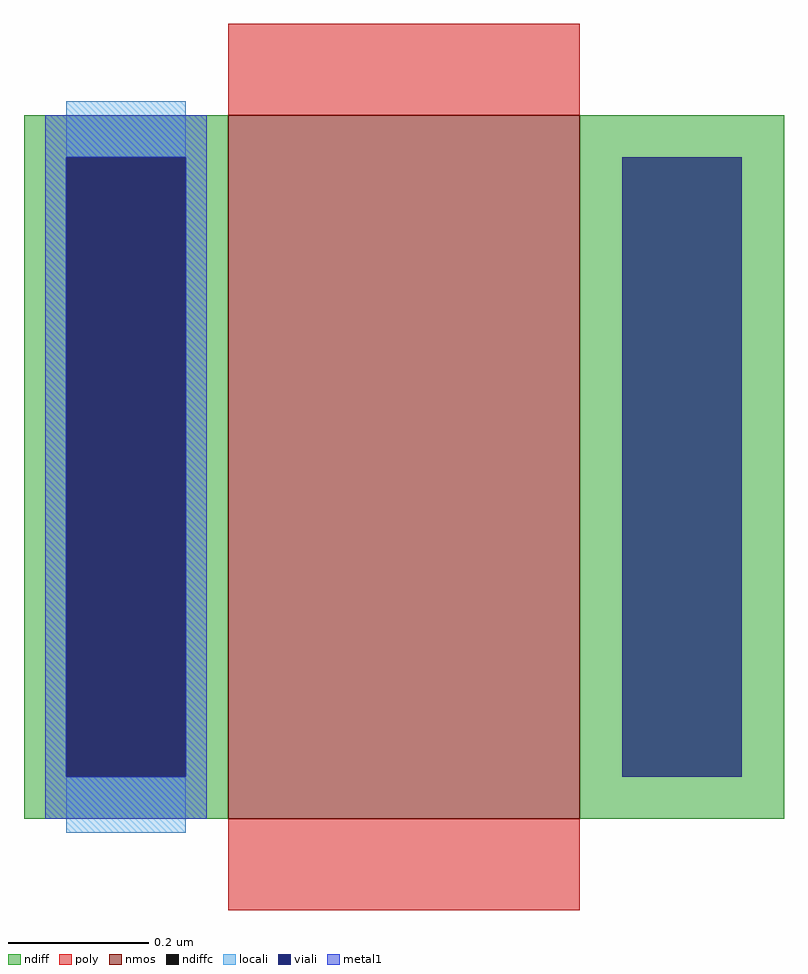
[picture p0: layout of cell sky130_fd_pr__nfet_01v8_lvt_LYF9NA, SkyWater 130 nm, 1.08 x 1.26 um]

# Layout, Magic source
magic
tech sky130A
<< nmos >>
rect -25 -50 25 50
<< ndiff >>
rect -54 44 -25 50
rect -54 -44 -48 44
rect -31 -44 -25 44
rect -54 -50 -25 -44
rect 25 -50 54 50
<< ndiffc >>
rect -48 -44 -31 44
<< poly >>
rect -25 50 25 63
rect -25 -63 25 -50
<< locali >>
rect -48 44 -31 52
rect -48 -52 -31 -44
<< viali >>
rect -48 -44 -31 44
rect 31 -44 48 44
<< metal1 >>
rect -51 44 -28 50
rect -51 -44 -48 44
rect -31 -44 -28 44
rect -51 -50 -28 -44
<< properties >>
string gencell sky130_fd_pr__nfet_01v8_lvt
string library sky130
string parameters w 1 l 0.5 m 1 nf 1 diffcov 100 polycov 100 guard 0 glc 0 grc 0 gtc 0 gbc 0 tbcov 100 rlcov 100 topc 0 botc 0 poverlap 0 doverlap 0 lmin 0.15 wmin 0.42 compatible {sky130_fd_pr__nfet_01v8 sky130_fd_pr__nfet_01v8_lvt  sky130_fd_bs_flash__special_sonosfet_star  sky130_fd_pr__nfet_g5v0d10v5 sky130_fd_pr__nfet_05v0_nvt  sky130_fd_pr__nfet_03v3_nvt} full_metal 0 viasrc 100 viadrn 100 viagate 100 viagb 0 viagr 0 viagl 0 viagt 0
<< end >>
